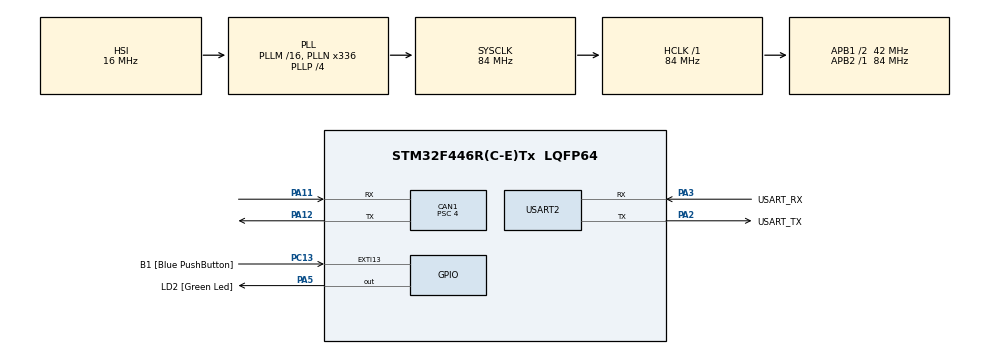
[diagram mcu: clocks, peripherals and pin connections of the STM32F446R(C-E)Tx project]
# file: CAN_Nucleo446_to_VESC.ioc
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CAN1.BS1=CAN_BS1_16TQ
CAN1.BS2=CAN_BS2_4TQ
CAN1.CalculateBaudRate=500000
CAN1.CalculateTimeBit=2000
CAN1.CalculateTimeQuantum=95.23809523809524
CAN1.Prescaler=4
Mcu.Family=STM32F4
Mcu.Name=STM32F446R(C-E)Tx
Mcu.Package=LQFP64
NVIC.CAN1_RX0_IRQn=true\:0\:0\:false\:false\:true\:true\:true\:true
NVIC.CAN1_RX1_IRQn=true\:0\:0\:false\:false\:true\:true\:true\:true
NVIC.CAN1_TX_IRQn=true\:0\:0\:false\:false\:true\:true\:true\:true
NVIC.PriorityGroup=NVIC_PRIORITYGROUP_0
PA11.Mode=CAN_Activate
PA11.Signal=CAN1_RX
PA12.Mode=CAN_Activate
PA12.Signal=CAN1_TX
PA13.GPIO_Label=TMS
PA13.Mode=Serial_Wire
PA13.Signal=SYS_JTMS-SWDIO
PA14.GPIO_Label=TCK
PA14.Mode=Serial_Wire
PA14.Signal=SYS_JTCK-SWCLK
PA2.GPIO_Label=USART_TX
PA2.Mode=Asynchronous
PA2.Signal=USART2_TX
PA3.GPIO_Label=USART_RX
PA3.Mode=Asynchronous
PA3.Signal=USART2_RX
PA5.GPIO_Label=LD2 [Green Led]
PA5.Signal=GPIO_Output
PB3.GPIO_Label=SWO
PB3.Signal=SYS_JTDO-SWO
PC13.GPIO_Label=B1 [Blue PushButton]
PC13.GPIO_ModeDefaultEXTI=GPIO_MODE_IT_FALLING
PC13.Signal=GPXTI13
PC14-OSC32_IN.Mode=LSE-External-Oscillator
PC14-OSC32_IN.Signal=RCC_OSC32_IN
PC15-OSC32_OUT.Mode=LSE-External-Oscillator
PC15-OSC32_OUT.Signal=RCC_OSC32_OUT
PH0-OSC_IN.Mode=HSE-External-Oscillator
PH0-OSC_IN.Signal=RCC_OSC_IN
PH1-OSC_OUT.Mode=HSE-External-Oscillator
PH1-OSC_OUT.Signal=RCC_OSC_OUT
ProjectManager.HeapSize=0x200
ProjectManager.StackSize=0x400
ProjectManager.TargetToolchain=STM32CubeIDE
RCC.48MHZClocksFreq_Value=84000000
RCC.AHBFreq_Value=84000000
RCC.APB1CLKDivider=RCC_HCLK_DIV2
RCC.APB1Freq_Value=42000000
RCC.APB1TimFreq_Value=84000000
RCC.APB2Freq_Value=84000000
RCC.APB2TimFreq_Value=84000000
RCC.CortexFreq_Value=84000000
RCC.FLatency-AdvancedSettings=FLASH_LATENCY_2
RCC.HCLKFreq_Value=84000000
RCC.HSE_VALUE=8000000
RCC.HSI_VALUE=16000000
RCC.PLLN=336
RCC.PLLP=RCC_PLLP_DIV4
RCC.SYSCLKFreq_VALUE=84000000
RCC.SYSCLKSource=RCC_SYSCLKSOURCE_PLLCLK
RCC.USBFreq_Value=168000000
RCC.VCOOutputFreq_Value=336000000
USART2.VirtualMode=VM_ASYNC
board=NUCLEO-F446RE

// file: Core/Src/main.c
/* USER CODE BEGIN Header */
/**
  ******************************************************************************
  * @file           : main.c
  * @brief          : Main program body
  ******************************************************************************
  * @attention
  *
  * Copyright (c) 2023 STMicroelectronics.
  * All rights reserved.
  *
  * This software is licensed under terms that can be found in the LICENSE file
  * in the root directory of this software component.
  * If no LICENSE file comes with this software, it is provided AS-IS.
  *
  ******************************************************************************
  */
/* USER CODE END Header */
#include "main.h"

/* USER CODE BEGIN Includes */
#include <stdio.h>

/* USER CODE END Includes */

/* USER CODE BEGIN PTD */
enum VescMode {
	kDuty,
	kCurrent,
	kRpm
};
/* USER CODE END PTD */

CAN_HandleTypeDef hcan1;

UART_HandleTypeDef huart2;

/* USER CODE BEGIN PV */
// CAN
CAN_TxHeaderTypeDef   TxHeader;
CAN_RxHeaderTypeDef   RxHeader;

uint8_t               TxData[8];
uint8_t               RxData[8];
uint32_t              TxMailbox;

/* USER CODE END PV */

void SystemClock_Config(void);
static void MX_GPIO_Init(void);
static void MX_USART2_UART_Init(void);
static void MX_CAN1_Init(void);
/* USER CODE BEGIN PFP */

int _write(int file, char *ptr, int len)
{
  HAL_UART_Transmit(&huart2,(uint8_t *)ptr,len,10);
  return len;
}

/* USER CODE END PFP */

/* USER CODE BEGIN 0 */
// 受信割り込みコールバック関数
void HAL_CAN_RxFifo0MsgPendingCallback(CAN_HandleTypeDef *hcan)
{
  if (HAL_CAN_GetRxMessage(&hcan1, CAN_RX_FIFO0, &RxHeader, RxData) != HAL_OK)
  {
    Error_Handler();
  }
  printf(" id = %ld [0] = %x [1] = %x [2] = %x [3] = %x [4] = %x [5] = %x [6] = %x [7] = %x\r\n", RxHeader.StdId, RxData[0], RxData[1], RxData[2], RxData[3], RxData[4], RxData[5], RxData[6], RxData[7]);
}

// CANのアクティベーション
void CanActivation(void) {
  if (HAL_CAN_ActivateNotification(&hcan1, CAN_IT_RX_FIFO0_MSG_PENDING) != HAL_OK){
    Error_Handler();
  }
  printf("Activation OK \n");
  if (HAL_CAN_Start(&hcan1) != HAL_OK){
    printf("error code: %d", hcan1.ErrorCode);
	Error_Handler();
  }
  printf("CAN Start OK");
}

// VESCを使ってCANでBLDCを回す
void CanVescDrive(enum VescMode mode, unsigned int address, float value) {
  uint32_t set_value = 0;
  if (mode == kDuty){
	set_value = 100000.0 * value;
    TxHeader.ExtId = 0x000 | address;
  }
  else if (mode == kCurrent) {
    set_value = 1000.0 * value;
    TxHeader.ExtId = 0x100 | address;
  }
  else if (mode == kRpm) {
    set_value = value;
    TxHeader.ExtId = 0x300 | address;
  }
  TxHeader.RTR = CAN_RTR_DATA;
  TxHeader.IDE = CAN_ID_EXT;
  TxHeader.DLC = 4;
  TxHeader.TransmitGlobalTime = DISABLE;

  TxData[0] = (set_value >> 24) & 0xFF;
  TxData[1] = (set_value >> 16) & 0xFF;
  TxData[2] = (set_value >> 8)  & 0xFF;
  TxData[3] = set_value & 0xFF;
  //Request transmission
  while(HAL_CAN_GetTxMailboxesFreeLevel(&hcan1) < 1) continue;
  if(HAL_CAN_AddTxMessage(&hcan1, &TxHeader, TxData, &TxMailbox) != HAL_OK)
  {
    printf("error code: %x", hcan1.ErrorCode);
    Error_Handler();
  }
  if (HAL_CAN_ActivateNotification(&hcan1, CAN_IT_RX_FIFO0_MSG_PENDING) != HAL_OK)
  {
    printf("error code: %x", hcan1.ErrorCode);
    Error_Handler();
  }
}

/* USER CODE END 0 */

int main(void)
{

  /* MCU Configuration--------------------------------------------------------*/

  /* Reset of all peripherals, Initializes the Flash interface and the Systick. */
  HAL_Init();

  /* Configure the system clock */
  SystemClock_Config();

  /* Initialize all configured peripherals */
  MX_GPIO_Init();
  MX_USART2_UART_Init();
  MX_CAN1_Init();
  /* USER CODE BEGIN 2 */
  setbuf(stdout, NULL);
  printf("Hello World\n");
  CanActivation();
  HAL_GPIO_WritePin(LD2_GPIO_Port, LD2_Pin, GPIO_PIN_SET);
  /* USER CODE END 2 */

  /* Infinite loop */
  while (1)
  {

    /* USER CODE BEGIN 3 */
	  CanVescDrive(kRpm, 0x5C, 0);
  }
  /* USER CODE END 3 */
}

void SystemClock_Config(void)
{
  RCC_OscInitTypeDef RCC_OscInitStruct = {0};
  RCC_ClkInitTypeDef RCC_ClkInitStruct = {0};

  /** Configure the main internal regulator output voltage
  */
  __HAL_RCC_PWR_CLK_ENABLE();
  __HAL_PWR_VOLTAGESCALING_CONFIG(PWR_REGULATOR_VOLTAGE_SCALE3);

  /** Initializes the RCC Oscillators according to the specified parameters
  * in the RCC_OscInitTypeDef structure.
  */
  RCC_OscInitStruct.OscillatorType = RCC_OSCILLATORTYPE_HSI;
  RCC_OscInitStruct.HSIState = RCC_HSI_ON;
  RCC_OscInitStruct.HSICalibrationValue = RCC_HSICALIBRATION_DEFAULT;
  RCC_OscInitStruct.PLL.PLLState = RCC_PLL_ON;
  RCC_OscInitStruct.PLL.PLLSource = RCC_PLLSOURCE_HSI;
  RCC_OscInitStruct.PLL.PLLM = 16;
  RCC_OscInitStruct.PLL.PLLN = 336;
  RCC_OscInitStruct.PLL.PLLP = RCC_PLLP_DIV4;
  RCC_OscInitStruct.PLL.PLLQ = 2;
  RCC_OscInitStruct.PLL.PLLR = 2;
  if (HAL_RCC_OscConfig(&RCC_OscInitStruct) != HAL_OK)
  {
    Error_Handler();
  }

  /** Initializes the CPU, AHB and APB buses clocks
  */
  RCC_ClkInitStruct.ClockType = RCC_CLOCKTYPE_HCLK|RCC_CLOCKTYPE_SYSCLK
                              |RCC_CLOCKTYPE_PCLK1|RCC_CLOCKTYPE_PCLK2;
  RCC_ClkInitStruct.SYSCLKSource = RCC_SYSCLKSOURCE_PLLCLK;
  RCC_ClkInitStruct.AHBCLKDivider = RCC_SYSCLK_DIV1;
  RCC_ClkInitStruct.APB1CLKDivider = RCC_HCLK_DIV2;
  RCC_ClkInitStruct.APB2CLKDivider = RCC_HCLK_DIV1;

  if (HAL_RCC_ClockConfig(&RCC_ClkInitStruct, FLASH_LATENCY_2) != HAL_OK)
  {
    Error_Handler();
  }
}

static void MX_CAN1_Init(void)
{

  hcan1.Instance = CAN1;
  hcan1.Init.Prescaler = 4;
  hcan1.Init.Mode = CAN_MODE_NORMAL;
  hcan1.Init.SyncJumpWidth = CAN_SJW_1TQ;
  hcan1.Init.TimeSeg1 = CAN_BS1_16TQ;
  hcan1.Init.TimeSeg2 = CAN_BS2_4TQ;
  hcan1.Init.TimeTriggeredMode = DISABLE;
  hcan1.Init.AutoBusOff = DISABLE;
  hcan1.Init.AutoWakeUp = DISABLE;
  hcan1.Init.AutoRetransmission = DISABLE;
  hcan1.Init.ReceiveFifoLocked = DISABLE;
  hcan1.Init.TransmitFifoPriority = DISABLE;
  if (HAL_CAN_Init(&hcan1) != HAL_OK)
  {
    Error_Handler();
  }
  /* USER CODE BEGIN CAN1_Init 2 */
  CAN_FilterTypeDef  sFilterConfig;
  sFilterConfig.FilterBank = 0;
  sFilterConfig.FilterMode = CAN_FILTERMODE_IDMASK;
  sFilterConfig.FilterScale = CAN_FILTERSCALE_32BIT;
  sFilterConfig.FilterIdHigh = 0x0000;
  sFilterConfig.FilterIdLow = 0x0000;
  sFilterConfig.FilterMaskIdHigh = 0x0000;
  sFilterConfig.FilterMaskIdLow = 0x0000;
  sFilterConfig.FilterFIFOAssignment = CAN_RX_FIFO0;
  sFilterConfig.FilterActivation = ENABLE;
  sFilterConfig.SlaveStartFilterBank = 14;
  if (HAL_CAN_ConfigFilter(&hcan1, &sFilterConfig) != HAL_OK)
  {
    Error_Handler();
  }
  printf("Filter OK \n");
  /* USER CODE END CAN1_Init 2 */

}

static void MX_USART2_UART_Init(void)
{

  huart2.Instance = USART2;
  huart2.Init.BaudRate = 115200;
  huart2.Init.WordLength = UART_WORDLENGTH_8B;
  huart2.Init.StopBits = UART_STOPBITS_1;
  huart2.Init.Parity = UART_PARITY_NONE;
  huart2.Init.Mode = UART_MODE_TX_RX;
  huart2.Init.HwFlowCtl = UART_HWCONTROL_NONE;
  huart2.Init.OverSampling = UART_OVERSAMPLING_16;
  if (HAL_UART_Init(&huart2) != HAL_OK)
  {
    Error_Handler();
  }

}

static void MX_GPIO_Init(void)
{
  GPIO_InitTypeDef GPIO_InitStruct = {0};

  /* GPIO Ports Clock Enable */
  __HAL_RCC_GPIOC_CLK_ENABLE();
  __HAL_RCC_GPIOH_CLK_ENABLE();
  __HAL_RCC_GPIOA_CLK_ENABLE();
  __HAL_RCC_GPIOB_CLK_ENABLE();

  /*Configure GPIO pin Output Level */
  HAL_GPIO_WritePin(LD2_GPIO_Port, LD2_Pin, GPIO_PIN_RESET);

  /*Configure GPIO pin : B1_Pin */
  GPIO_InitStruct.Pin = B1_Pin;
  GPIO_InitStruct.Mode = GPIO_MODE_IT_FALLING;
  GPIO_InitStruct.Pull = GPIO_NOPULL;
  HAL_GPIO_Init(B1_GPIO_Port, &GPIO_InitStruct);

  /*Configure GPIO pin : LD2_Pin */
  GPIO_InitStruct.Pin = LD2_Pin;
  GPIO_InitStruct.Mode = GPIO_MODE_OUTPUT_PP;
  GPIO_InitStruct.Pull = GPIO_NOPULL;
  GPIO_InitStruct.Speed = GPIO_SPEED_FREQ_LOW;
  HAL_GPIO_Init(LD2_GPIO_Port, &GPIO_InitStruct);

}

void Error_Handler(void)
{
  __disable_irq();
  while (1)
  {
  }
}
